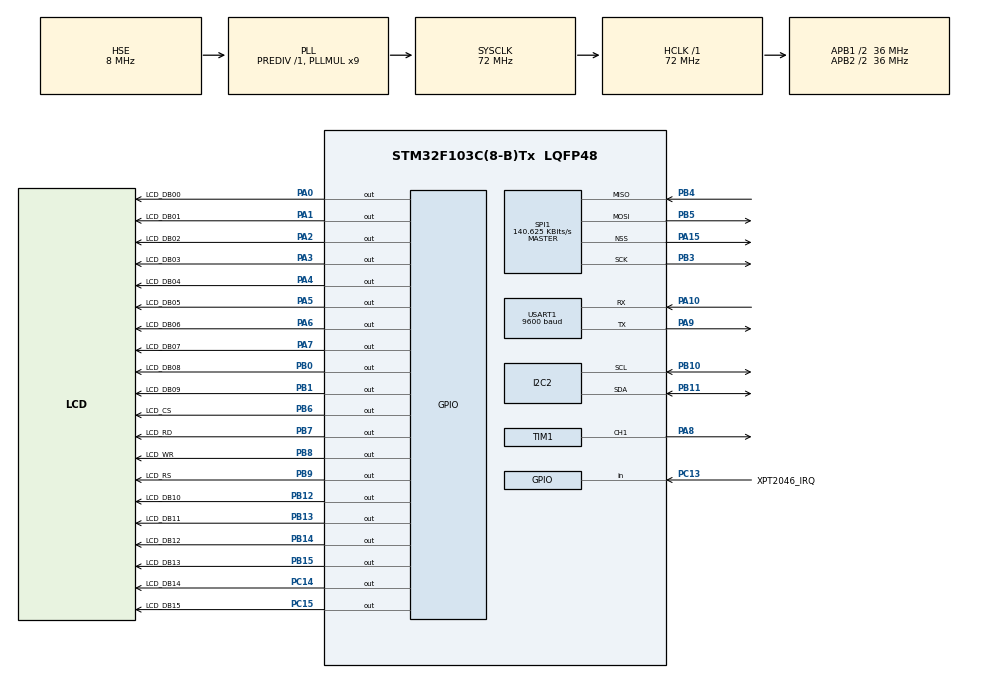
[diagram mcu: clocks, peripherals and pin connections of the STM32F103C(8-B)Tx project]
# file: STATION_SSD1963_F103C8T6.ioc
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Dma.Request0=USART1_TX
Dma.Request1=USART1_RX
Dma.USART1_RX.1.Direction=DMA_PERIPH_TO_MEMORY
Dma.USART1_RX.1.Instance=DMA1_Channel5
Dma.USART1_RX.1.MemDataAlignment=DMA_MDATAALIGN_BYTE
Dma.USART1_RX.1.MemInc=DMA_MINC_ENABLE
Dma.USART1_RX.1.Mode=DMA_NORMAL
Dma.USART1_RX.1.PeriphDataAlignment=DMA_PDATAALIGN_BYTE
Dma.USART1_RX.1.PeriphInc=DMA_PINC_DISABLE
Dma.USART1_RX.1.Priority=DMA_PRIORITY_LOW
Dma.USART1_TX.0.Direction=DMA_MEMORY_TO_PERIPH
Dma.USART1_TX.0.Instance=DMA1_Channel4
Dma.USART1_TX.0.MemDataAlignment=DMA_MDATAALIGN_BYTE
Dma.USART1_TX.0.MemInc=DMA_MINC_ENABLE
Dma.USART1_TX.0.Mode=DMA_NORMAL
Dma.USART1_TX.0.PeriphDataAlignment=DMA_PDATAALIGN_BYTE
Dma.USART1_TX.0.PeriphInc=DMA_PINC_DISABLE
Dma.USART1_TX.0.Priority=DMA_PRIORITY_LOW
Mcu.Family=STM32F1
Mcu.Name=STM32F103C(8-B)Tx
Mcu.Package=LQFP48
NVIC.DMA1_Channel4_IRQn=true\:0\:0\:false\:false\:true\:false\:true
NVIC.DMA1_Channel5_IRQn=true\:0\:0\:false\:false\:true\:false\:true
NVIC.PriorityGroup=NVIC_PRIORITYGROUP_4
NVIC.USART1_IRQn=true\:0\:0\:false\:false\:true\:true\:true
PA0-WKUP.GPIO_Label=LCD_DB00
PA0-WKUP.Signal=GPIO_Output
PA1.GPIO_Label=LCD_DB01
PA1.Signal=GPIO_Output
PA10.Mode=Asynchronous
PA10.Signal=USART1_RX
PA13.Mode=Serial_Wire
PA13.Signal=SYS_JTMS-SWDIO
PA14.Mode=Serial_Wire
PA14.Signal=SYS_JTCK-SWCLK
PA15.Mode=NSS_Signal_Hard_Output
PA15.Signal=SPI1_NSS
PA2.GPIO_Label=LCD_DB02
PA2.Signal=GPIO_Output
PA3.GPIO_Label=LCD_DB03
PA3.Signal=GPIO_Output
PA4.GPIO_Label=LCD_DB04
PA4.Signal=GPIO_Output
PA5.GPIO_Label=LCD_DB05
PA5.Signal=GPIO_Output
PA6.GPIO_Label=LCD_DB06
PA6.Signal=GPIO_Output
PA7.GPIO_Label=LCD_DB07
PA7.Signal=GPIO_Output
PA8.GPIO_Speed=GPIO_SPEED_FREQ_LOW
PA8.Signal=S_TIM1_CH1
PA9.Mode=Asynchronous
PA9.Signal=USART1_TX
PB0.GPIO_Label=LCD_DB08
PB0.Signal=GPIO_Output
PB1.GPIO_Label=LCD_DB09
PB1.Signal=GPIO_Output
PB10.GPIO_Speed=GPIO_SPEED_FREQ_HIGH
PB10.Mode=I2C
PB10.Signal=I2C2_SCL
PB11.GPIO_Speed=GPIO_SPEED_FREQ_HIGH
PB11.Mode=I2C
PB11.Signal=I2C2_SDA
PB12.GPIO_Label=LCD_DB10
PB12.Signal=GPIO_Output
PB13.GPIO_Label=LCD_DB11
PB13.Signal=GPIO_Output
PB14.GPIO_Label=LCD_DB12
PB14.Signal=GPIO_Output
PB15.GPIO_Label=LCD_DB13
PB15.Signal=GPIO_Output
PB3.Mode=Full_Duplex_Master
PB3.Signal=SPI1_SCK
PB4.Mode=Full_Duplex_Master
PB4.Signal=SPI1_MISO
PB5.Mode=Full_Duplex_Master
PB5.Signal=SPI1_MOSI
PB6.GPIO_Label=LCD_CS
PB6.Signal=GPIO_Output
PB7.GPIO_Label=LCD_RD
PB7.Signal=GPIO_Output
PB8.GPIO_Label=LCD_WR
PB8.Signal=GPIO_Output
PB9.GPIO_Label=LCD_RS
PB9.Signal=GPIO_Output
PC13-TAMPER-RTC.GPIO_Label=XPT2046_IRQ
PC13-TAMPER-RTC.GPIO_PuPd=GPIO_PULLUP
PC13-TAMPER-RTC.Signal=GPIO_Input
PC14-OSC32_IN.GPIO_Label=LCD_DB14
PC14-OSC32_IN.Signal=GPIO_Output
PC15-OSC32_OUT.GPIO_Label=LCD_DB15
PC15-OSC32_OUT.Signal=GPIO_Output
PD0-OSC_IN.Mode=HSE-External-Oscillator
PD0-OSC_IN.Signal=RCC_OSC_IN
PD1-OSC_OUT.Mode=HSE-External-Oscillator
PD1-OSC_OUT.Signal=RCC_OSC_OUT
ProjectManager.HeapSize=0x200
ProjectManager.StackSize=0x400
ProjectManager.TargetToolchain=MDK-ARM V5
RCC.AHBFreq_Value=72000000
RCC.APB1CLKDivider=RCC_HCLK_DIV2
RCC.APB1Freq_Value=36000000
RCC.APB1TimFreq_Value=72000000
RCC.APB2CLKDivider=RCC_HCLK_DIV2
RCC.APB2Freq_Value=36000000
RCC.APB2TimFreq_Value=72000000
RCC.HCLKFreq_Value=72000000
RCC.PLLMUL=RCC_PLL_MUL9
RCC.PLLSourceVirtual=RCC_PLLSOURCE_HSE
RCC.SYSCLKFreq_VALUE=72000000
RCC.SYSCLKSource=RCC_SYSCLKSOURCE_PLLCLK
RCC.USBFreq_Value=48000000
RCC.USBPrescaler=RCC_USBCLKSOURCE_PLL_DIV1_5
SH.S_TIM1_CH1.0=TIM1_CH1,PWM Generation1 CH1
SPI1.BaudRatePrescaler=SPI_BAUDRATEPRESCALER_256
SPI1.CalculateBaudRate=140.625 KBits/s
SPI1.Direction=SPI_DIRECTION_2LINES
SPI1.Mode=SPI_MODE_MASTER
SPI1.VirtualNSS=VM_NSSHARD
SPI1.VirtualType=VM_MASTER
TIM1.Channel-PWM\ Generation1\ CH1=TIM_CHANNEL_1
TIM1.Period=65535
TIM1.Prescaler=0
TIM1.Pulse-PWM\ Generation1\ CH1=0
USART1.BaudRate=9600
USART1.VirtualMode=VM_ASYNC
VP_TIM1_VS_ClockSourceINT.Mode=Internal
board=custom

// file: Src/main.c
/* USER CODE BEGIN Header */
/**
  ******************************************************************************
  * @file           : main.c
  * @brief          : Main program body
  ******************************************************************************
  ** This notice applies to any and all portions of this file
  * that are not between comment pairs USER CODE BEGIN and
  * USER CODE END. Other portions of this file, whether
  * inserted by the user or by software development tools
  * are owned by their respective copyright owners.
  *
  * COPYRIGHT(c) 2019 STMicroelectronics
  *
  * Redistribution and use in source and binary forms, with or without modification,
  * are permitted provided that the following conditions are met:
  *   1. Redistributions of source code must retain the above copyright notice,
  *      this list of conditions and the following disclaimer.
  *   2. Redistributions in binary form must reproduce the above copyright notice,
  *      this list of conditions and the following disclaimer in the documentation
  *      and/or other materials provided with the distribution.
  *   3. Neither the name of STMicroelectronics nor the names of its contributors
  *      may be used to endorse or promote products derived from this software
  *      without specific prior written permission.
  *
  * THIS SOFTWARE IS PROVIDED BY THE COPYRIGHT HOLDERS AND CONTRIBUTORS "AS IS"
  * AND ANY EXPRESS OR IMPLIED WARRANTIES, INCLUDING, BUT NOT LIMITED TO, THE
  * IMPLIED WARRANTIES OF MERCHANTABILITY AND FITNESS FOR A PARTICULAR PURPOSE ARE
  * DISCLAIMED. IN NO EVENT SHALL THE COPYRIGHT HOLDER OR CONTRIBUTORS BE LIABLE
  * FOR ANY DIRECT, INDIRECT, INCIDENTAL, SPECIAL, EXEMPLARY, OR CONSEQUENTIAL
  * DAMAGES (INCLUDING, BUT NOT LIMITED TO, PROCUREMENT OF SUBSTITUTE GOODS OR
  * SERVICES; LOSS OF USE, DATA, OR PROFITS; OR BUSINESS INTERRUPTION) HOWEVER
  * CAUSED AND ON ANY THEORY OF LIABILITY, WHETHER IN CONTRACT, STRICT LIABILITY,
  * OR TORT (INCLUDING NEGLIGENCE OR OTHERWISE) ARISING IN ANY WAY OUT OF THE USE
  * OF THIS SOFTWARE, EVEN IF ADVISED OF THE POSSIBILITY OF SUCH DAMAGE.
  *
  ******************************************************************************
  */
  /* USER CODE END Header */
  /* Includes ------------------------------------------------------------------*/
#include "main.h"

/* USER CODE BEGIN Includes */
#include <stdio.h>
#include <math.h>
#include "ssd1963_hal.h"
#include "xpt2046.h"
#include "uart.h"

#include "string.h"
#include "bme280.h"
#include "ds3231.h"
#include "at24xx.h"

#include "fonts/DejaVuSans/018_DejaVuSans.h"
#include "fonts/DejaVuSans/036_DejaVuSans.h"
#include "fonts/DejaVuSans/072_DejaVuSans.h"

#include "fonts/Moon_Phases/026_Moon_Phases.h"

/* USER CODE END Includes */

I2C_HandleTypeDef hi2c2;

SPI_HandleTypeDef hspi1;

TIM_HandleTypeDef htim1;

UART_HandleTypeDef huart1;
DMA_HandleTypeDef hdma_usart1_tx;
DMA_HandleTypeDef hdma_usart1_rx;

/* USER CODE BEGIN PV */
uint8_t rtcSet = 0, clearEEPROM = 0, barographViewed = 0, sound = 1, printAlarm = 0, alarm1 = 0;
uint8_t rtcSec, rtcMin, rtcHrs, rtcDay, rtcDate, rtcMonth, rtcYear,
rtcSecA1, rtcMinA1, rtcHrsA1, rtcDayA1, rtcDateA1, rtcMinA2, rtcHrsA2, rtcDayA2, rtcDateA2;
uint16_t touchX, touchY;
uint8_t rtcSecLast = 61, rtcMinLast = 61, rtcHrsLast = 25, rtcLastDay, rtcDateLast, rtcMonthLast, rtcYearLast;
char rtcDateLastChar[5];
uint16_t pressure, pressureLast;
double temperatureLast, humidityLast, temperature, humidity,
temperatureRemote, temperatureRemoteLast, humidityRemote, humidityRemoteLast, rtcMoon;
uint64_t startHistory;

uint16_t barographHourly[367] = { 25 };
uint16_t barographDaily[367];
uint16_t barographMinimum = 0, barographMaximum = 0, barographAverage = 0;
/* USER CODE END PV */

void SystemClock_Config(void);
static void MX_GPIO_Init(void);
static void MX_DMA_Init(void);
static void MX_USART1_UART_Init(void);
static void MX_SPI1_Init(void);
static void MX_I2C2_Init(void);
static void MX_TIM1_Init(void);

/* USER CODE BEGIN 0 */
double map(double x, double in_min, double in_max, double out_min, double out_max) {
	return (x - in_min) * (out_max - out_min) / (in_max - in_min) + out_min;
}

uint8_t rx_buffer[256];
uint8_t rx_index = 0;
uint8_t rx_data;

void HAL_UART_RxCpltCallback(UART_HandleTypeDef* huart) {
	uint8_t i;
	if (huart->Instance == USART1) {
		if (rx_index == 0) {
			for (i = 0; i < 255; i++) {
				rx_buffer[i] = 0;
			}
		}
		rx_buffer[rx_index++] = rx_data;
		HAL_UART_Receive_IT(&huart1, &rx_data, 1);
	}
}

void sensorRemote() {

	if (temperatureRemote != temperatureRemoteLast && temperatureRemote >= -40 && temperatureRemote <= 40) {

		char weatherPrintRemoteT[4];

		if (temperatureRemoteLast >= 10 || (temperatureRemoteLast < 0 && temperatureRemoteLast > -10)) {
			sprintf(weatherPrintRemoteT, "%.1f", temperatureRemoteLast);
			LCD_Font(505, 40, weatherPrintRemoteT, &DejaVu_Sans_36, 1, BLACK);
		}
		else if (temperatureRemoteLast < 10 && temperatureRemoteLast > 0) {
			sprintf(weatherPrintRemoteT, "%.1f", temperatureRemoteLast);
			LCD_Font(531, 40, weatherPrintRemoteT, &DejaVu_Sans_36, 1, BLACK);
		}
		else if (temperatureRemoteLast <= -10) {
			sprintf(weatherPrintRemoteT, "%2d", (int8_t)temperatureRemoteLast);
			LCD_Font(505, 40, weatherPrintRemoteT, &DejaVu_Sans_36, 1, BLACK);
		}

		temperatureRemoteLast = temperatureRemote;

		if (temperatureRemoteLast >= 10 || (temperatureRemoteLast < 0 && temperatureRemoteLast > -10)) {
			sprintf(weatherPrintRemoteT, "%.1f", temperatureRemoteLast);
			LCD_Font(505, 40, weatherPrintRemoteT, &DejaVu_Sans_36, 1, ORANGE);
		}
		else if (temperatureRemoteLast < 10 && temperatureRemoteLast > 0) {
			sprintf(weatherPrintRemoteT, "%.1f", temperatureRemoteLast);
			LCD_Font(531, 40, weatherPrintRemoteT, &DejaVu_Sans_36, 1, ORANGE);
		}
		else if (temperatureRemoteLast <= -10) {
			sprintf(weatherPrintRemoteT, "%2d", (int8_t)temperatureRemoteLast);
			LCD_Font(505, 40, weatherPrintRemoteT, &DejaVu_Sans_36, 1, ORANGE);
		}

		for (double i = 0.0; i < 400; i++) {
			if (temperatureRemoteLast + 40 > i / 5) LCD_Line(547, 470 - i, 563, 470 - i, 1, GRAY);
			else LCD_Line(547, 470 - i, 563, 470 - i, 1, 0x101010);
		}
	}

	if (humidityRemote != humidityRemoteLast && humidityRemote > 0) {

		char weatherPrintRemoteH[4];

		if (humidityRemoteLast >= 10) {
			sprintf(weatherPrintRemoteH, "%.1f", humidityRemoteLast);
			LCD_Font(405, 40, weatherPrintRemoteH, &DejaVu_Sans_36, 1, BLACK);
		}
		else if (humidityRemoteLast < 10) {
			sprintf(weatherPrintRemoteH, "%.1f", humidityRemoteLast);
			LCD_Font(431, 40, weatherPrintRemoteH, &DejaVu_Sans_36, 1, BLACK);
		}

		humidityRemoteLast = humidityRemote;

		if (humidityRemoteLast >= 10) {
			sprintf(weatherPrintRemoteH, "%.1f", humidityRemoteLast);
			LCD_Font(405, 40, weatherPrintRemoteH, &DejaVu_Sans_36, 1, CYAN);
		}
		else if (humidityRemoteLast < 10) {
			sprintf(weatherPrintRemoteH, "%.1f", humidityRemoteLast);
			LCD_Font(431, 40, weatherPrintRemoteH, &DejaVu_Sans_36, 1, CYAN);
		}

		for (double i = 0.0; i < 400; i++) {
			if (humidityRemote > i / 4) LCD_Line(447, 470 - i, 463, 470 - i, 1, GRAY);
			else LCD_Line(447, 470 - i, 463, 470 - i, 1, 0x101010);
		}
	}
}

void uartDecode() {

	if (memcmp(rx_buffer, "RS", 2) == 0) {

		char valT[4] = { 0 };

		for (uint8_t i = 0; i < 4; i++) valT[i] = rx_buffer[2 + i];

		temperatureRemote = atoi(valT);
		temperatureRemote = temperatureRemote / 10;

		char valH[3] = { 0 };

		for (uint8_t i = 0; i < 3; i++) valH[i] = rx_buffer[6 + i];

		humidityRemote = atoi(valH);
		humidityRemote = humidityRemote / 10;

		sensorRemote();
	}

	if (memcmp(rx_buffer, "RT", 2) == 0) {

		char val[2];

		val[0] = rx_buffer[2];
		val[1] = rx_buffer[3];
		DS3231_setHrs(atoi(val));

		val[0] = rx_buffer[4];
		val[1] = rx_buffer[5];
		DS3231_setMin(atoi(val));

		val[0] = rx_buffer[6];
		val[1] = rx_buffer[7];
		DS3231_setSec(atoi(val));

		val[0] = rx_buffer[8];
		val[1] = rx_buffer[9];
		DS3231_setDate(atoi(val));

		val[0] = rx_buffer[10];
		val[1] = rx_buffer[11];
		DS3231_setMonth(atoi(val));

		val[0] = rx_buffer[12];
		val[1] = rx_buffer[13];
		DS3231_setYear(atoi(val));

		val[0] = 0;
		val[1] = rx_buffer[14];
		DS3231_setDay(atoi(val));
	}

	for (uint8_t i = 0; i < 255; i++) rx_buffer[i] = 0;
}

uint8_t byteL(uint16_t val) {
	return (val & 0xFF);
}

uint8_t byteH(uint16_t val) {
	return ((val >> 8) & 0xFF);
}

uint16_t byteS(uint8_t byteL, uint8_t byteH) {
	return (byteH << 8) | byteL;
}

void barograph(void) {

	for (uint16_t i = 0; i < 367; i++) {
		barographHourly[i] = byteS(AT24XX_Read(i * 2 + 1000), AT24XX_Read(i * 2 + 1 + 1000));
		barographDaily[i] = byteS(AT24XX_Read(i * 2 + 2000), AT24XX_Read(i * 2 + 1 + 2000));
	}

	if (barographHourly[0] != rtcHrs && pressure > 300 && pressure < 1100) {

		barographHourly[0] = rtcHrs;

		for (uint16_t i = 1; i < 366; i++) barographHourly[i] = barographHourly[i + 1];
		barographHourly[366] = (uint16_t)pressure;

		for (uint16_t i = 0; i < 367; i++) {
			AT24XX_Update(i * 2 + 1000, byteL(barographHourly[i]));
			AT24XX_Update(i * 2 + 1 + 1000, byteH(barographHourly[i]));
		}

		if (barographDaily[0] != rtcDate) {
			barographDaily[0] = rtcDate;

			uint32_t barographAverageLast24Hours = 0;
			uint16_t historyHours = 0;
			for (uint8_t i = 0; i < 24; i++) {
				if (barographHourly[366 - i] != 0) {
					barographAverageLast24Hours = barographAverageLast24Hours + barographHourly[366 - i];
					historyHours++;
				}
			}
			if (historyHours != 0) barographAverageLast24Hours = barographAverageLast24Hours / historyHours;

			for (uint16_t i = 1; i < 366; i++) {
				barographDaily[i] = barographDaily[i + 1];
			}
			barographDaily[366] = barographAverageLast24Hours;

			for (uint16_t i = 0; i < 367; i++) {
				AT24XX_Update(i * 2 + 2000, byteL(barographDaily[i]));
				AT24XX_Update(i * 2 + 1 + 2000, byteH(barographDaily[i]));
			}
		}
		barographViewed = 0;
	}

	if (!barographViewed) {

		uint32_t barographAverageLast366Days = 0;
		uint16_t historyDays = 0;
		for (uint16_t i = 0; i < 365; i++) {
			if (barographDaily[366 - i] != 0) {
				barographAverageLast366Days = barographAverageLast366Days + barographDaily[366 - i];
				historyDays++;
			}
		}
		if (historyDays != 0) barographAverage = barographAverageLast366Days / historyDays;

		barographMinimum = barographDaily[366];
		barographMaximum = barographDaily[366];

		for (uint16_t i = 1; i < 366; i++) {
			if (barographDaily[366 - i] != 0) {
				if (barographDaily[366 - i] < barographMinimum) barographMinimum = barographDaily[366 - i];
				if (barographDaily[366 - i] > barographMaximum) barographMaximum = barographDaily[366 - i];
			}
		}
		barographDaily[0] = rtcDate;

		LCD_Rect(1, 329, 368, 128, 1, BLUE);

		for (uint16_t i = 0; i < 366; i++) {

			int16_t val = 0;

			val = barographHourly[i + 1];

			if (val >= 938 && val <= 1064)
			{
				LCD_Line(2 + i, 456, 2 + i, 330, 1, BLACK);
				LCD_Line(2 + i, 456, 2 + i, 330 + (1064 - val), 1, RGB(255 - ((1064 - val) * 2), 0, 255 - (255 - ((1064 - val) * 2))));
			}
		}

		LCD_Rect(1, 201, 368, 128, 1, BLUE);

		for (uint16_t i = 0; i < 366; i++) {

			int16_t val = 0;

			val = barographDaily[i + 1];

			if (val >= 938 && val <= 1064)
			{
				LCD_Line(2 + i, 328, 2 + i, 202, 1, BLACK);
				LCD_Line(2 + i, 328, 2 + i, 202 + (1064 - val), 1, RGB(255 - ((1064 - val) * 2), 0, 255 - (255 - ((1064 - val) * 2))));
			}
		}

		LCD_Rect_Fill(1, 460, 397, 18, BLACK);

		char s[10];

		if (barographAverage >= 1000) sprintf(s, "Mid:%02d|", barographAverage);
		else sprintf(s, "Mid:0%02d|", barographAverage);
		LCD_Font(1, 474, s, &DejaVu_Sans_18, 1, GRAY);

		if (barographMinimum >= 1000) sprintf(s, "|Min:%02d|", barographMinimum);
		else sprintf(s, "|Min:0%02d|", barographMinimum);
		LCD_Font(91, 474, s, &DejaVu_Sans_18, 1, GRAY);

		if (barographMaximum >= 1000) sprintf(s, "|Max:%02d|", barographMaximum);
		else sprintf(s, "|Max:0%02d|", barographMaximum);
		LCD_Font(188, 474, s, &DejaVu_Sans_18, 1, GRAY);

		if (barographHourly[366] >= 1000) sprintf(s, "|Now:%02d", barographHourly[366]);
		else sprintf(s, "|Now:0%02d", barographHourly[366]);
		LCD_Font(290, 474, s, &DejaVu_Sans_18, 1, GRAY);

		LCD_Rect_Fill(370, 330, 29, 127, BLACK);

		if (barographHourly[365] != barographHourly[366])
		{
			if (barographHourly[365] == barographHourly[366] + 1 || barographHourly[365] >= barographHourly[366] + 3)
				LCD_Triangle_Fill(370, 390, 398, 390, 384, 404, BLUE);

			if (barographHourly[365] >= barographHourly[366] + 2)
			{
				LCD_Triangle_Fill(370, 350, 398, 350, 384, 364, BLUE);
				LCD_Triangle_Fill(370, 430, 398, 430, 384, 444, BLUE);
			}

			if (barographHourly[365] == barographHourly[366] - 1 || barographHourly[365] <= barographHourly[366] - 3)
				LCD_Triangle_Fill(370, 404, 398, 404, 384, 390, RED);

			if (barographHourly[365] <= barographHourly[366] - 2)
			{
				LCD_Triangle_Fill(370, 364, 398, 364, 384, 350, RED);
				LCD_Triangle_Fill(370, 444, 398, 444, 384, 430, RED);
			}
		}
		barographViewed = 1;
	}
}

void signal(void)
{
	for (uint32_t i = 0; i <= 65536; i++)
	{
		TIM1->CCR1 = i;
	}
}

void alarm(void)
{
	alarm1 = AT24XX_Read(4000);
	if (rtcHrsA1 < 24 && rtcMinA1 < 60)
	{
		if (!printAlarm)
		{
			LCD_Rect_Fill(71, 170, 105, 28, BLACK);
			char alarm1Time[8];
			sprintf(alarm1Time, "%02d:%02d", rtcHrsA1, rtcMinA1);
			if (alarm1) LCD_Font(70, 197, alarm1Time, &DejaVu_Sans_36, 1, RED);
			else LCD_Font(70, 197, alarm1Time, &DejaVu_Sans_36, 1, GRAY);

			LCD_Rect_Round(2, 170, 30, 30, 2, 1, GRAY);
			LCD_Font(8, 179, "_", &DejaVu_Sans_36, 1, GRAY);
			LCD_Rect_Round(34, 170, 30, 30, 2, 1, GRAY);
			LCD_Font(34, 197, "+", &DejaVu_Sans_36, 1, GRAY);

			LCD_Rect_Round(182, 170, 30, 30, 2, 1, GRAY);
			LCD_Font(188, 179, "_", &DejaVu_Sans_36, 1, GRAY);
			LCD_Rect_Round(214, 170, 30, 30, 2, 1, GRAY);
			LCD_Font(214, 197, "+", &DejaVu_Sans_36, 1, GRAY);

			LCD_Rect_Round(260, 170, 130, 30, 2, 1, GRAY);
			LCD_Rect_Round(300, 175, 50, 20, 2, 1, GRAY);
			LCD_Font(262, 192, "OFF", &DejaVu_Sans_18, 1, GRAY);
			LCD_Font(356, 192, "ON", &DejaVu_Sans_18, 1, GRAY);

			if (alarm1)
			{
				LCD_Rect_Round_Fill(329, 176, 20, 18, 1, RED);
				LCD_Rect_Round_Fill(301, 176, 20, 18, 1, BLACK);
			}
			else
			{
				LCD_Rect_Round_Fill(301, 176, 20, 18, 1, GRAY);
				LCD_Rect_Round_Fill(329, 176, 20, 18, 1, BLACK);
			}

			printAlarm = 1;
		}
		if (alarm1 && rtcHrsA1 == rtcHrs && rtcMinA1 == rtcMin) signal();
	}
}

/* USER CODE END 0 */

int main(void)
{

	/* MCU Configuration--------------------------------------------------------*/

	/* Reset of all peripherals, Initializes the Flash interface and the Systick. */
	HAL_Init();

	/* Configure the system clock */
	SystemClock_Config();

	/* Initialize all configured peripherals */
	MX_GPIO_Init();
	MX_DMA_Init();
	MX_USART1_UART_Init();
	MX_SPI1_Init();
	MX_I2C2_Init();
	MX_TIM1_Init();
	/* USER CODE BEGIN 2 */

	LCD_Init();
	XPT2046_Init();
	BME280_Init();

//	DS3231_setAlarm1Hour(0);
//	DS3231_setAlarm1Min(0);

	//HAL_GPIO_WritePin(GPIOA, GPIO_PIN_8, GPIO_PIN_SET);
	//HAL_Delay(100);
	//HAL_GPIO_WritePin(GPIOA, GPIO_PIN_8, GPIO_PIN_RESET);

	HAL_TIM_PWM_Start(&htim1, TIM_CHANNEL_1);

	if (rtcSet) {
		DS3231_setSec(0);
		DS3231_setMin(10);
		DS3231_setHrs(7);
		DS3231_setDay(5);
		DS3231_setDate(15);
		DS3231_setMonth(1);
		DS3231_setYear(21);
		rtcSet = 1;
	}

	if (clearEEPROM) {
		for (uint16_t i = 0; i < 4096; i++) {
			AT24XX_Update(i, 0);
		}
	}

	LCD_Rect_Fill(0, 0, 800, 480, BLACK);
	LCD_Rect(0, 0, 798, 479, 1, BLUE);

	HAL_UART_Receive_IT(&huart1, &rx_data, 1);

	uint8_t uartTransmit[] = "UART OK\r\n";
	HAL_UART_Transmit(&huart1, uartTransmit, sizeof(uartTransmit), 100);

	uint8_t uartTransmitDMA[] = "UART DMA OK\r\n";
	HAL_UART_Transmit_DMA(&huart1, uartTransmitDMA, sizeof(uartTransmitDMA));

	LCD_Line(400, 2, 400, 478, 1, BLUE);
	LCD_Rect(445, 70, 20, 402, 1, CYAN);
	LCD_Rect(745, 70, 20, 402, 1, CYAN);

	for (uint32_t i = 0; i < 41; i++) {
		char numbers[3];
		sprintf(numbers, "%02d", 40 - i);
		if (i % 5 == 0) LCD_Font(710, 77 + i * 10, numbers, &DejaVu_Sans_18, 1, GREEN);
		if (i % 5 == 0 && i > 30) LCD_Font(710, 77 + i * 10, "0", &DejaVu_Sans_18, 1, BLACK);

		if (i % 5 == 0) LCD_Line(735, 71 + i * 10, 745, 71 + i * 10, 1, CYAN);
		else LCD_Line(740, 71 + i * 10, 745, 71 + i * 10, 1, CYAN);
	}

	LCD_Rect(645, 70, 20, 402, 1, CYAN);

	for (uint8_t i = 0; i < 41; i++) {
		float n = (uint16_t)100.0 - i * 2.5;
		if ((uint8_t)n % 10 == 0) {
			char numbers[3];
			sprintf(numbers, "%02d", (uint8_t)n);
			if (n < 100) LCD_Font(610, 77 + i * 10, numbers, &DejaVu_Sans_18, 1, GREEN);
			else LCD_Font(601, 77 + i * 10, numbers, &DejaVu_Sans_18, 1, GREEN);

			LCD_Line(635, 71 + i * 10, 645, 71 + i * 10, 1, CYAN);

		}
		else if ((uint8_t)n % 5 == 0 && i < 40)
			LCD_Line(640, 71 + i * 10, 645, 71 + i * 10, 1, CYAN);
	}

	LCD_Font(610, 477, "0", &DejaVu_Sans_18, 1, BLACK);

	for (uint8_t i = 0; i < 41; i++) {
		float n = (uint16_t)100.0 - i * 2.5;
		if ((uint8_t)n % 10 == 0) {
			char numbers[3];
			sprintf(numbers, "%02d", (uint8_t)n);
			if (n < 100) LCD_Font(410, 77 + i * 10, numbers, &DejaVu_Sans_18, 1, GREEN);
			else LCD_Font(401, 77 + i * 10, numbers, &DejaVu_Sans_18, 1, GREEN);
			LCD_Line(435, 71 + i * 10, 445, 71 + i * 10, 1, CYAN);
		}
		else if ((uint8_t)n % 5 == 0 && i < 40)
			LCD_Line(440, 71 + i * 10, 445, 71 + i * 10, 1, CYAN);
	}

	LCD_Font(410, 477, "0", &DejaVu_Sans_18, 1, BLACK);

	LCD_Rect(545, 70, 20, 402, 1, CYAN);

	for (int32_t i = 0; i < 81; i++) {
		char numbers[3];
		sprintf(numbers, "%02d", 40 - i);
		if (i % 10 == 0) {
			if (40 - i >= 0) LCD_Font(510, 77 + i * 5, numbers, &DejaVu_Sans_18, 1, GREEN);
			else if (40 - i < 0) LCD_Font(501, 77 + i * 5, numbers, &DejaVu_Sans_18, 1, GREEN);
			LCD_Line(535, 71 + i * 5, 545, 71 + i * 5, 1, CYAN);
		}
		else if (i % 5 == 0) LCD_Line(540, 71 + i * 5, 545, 71 + i * 5, 1, CYAN);
		LCD_Font(510, 277, "0", &DejaVu_Sans_18, 1, BLACK);
	}

	LCD_Line(500, 2, 500, 478, 1, BLUE);
	LCD_Line(600, 2, 600, 478, 1, BLUE);
	LCD_Line(700, 2, 700, 478, 1, BLUE);

	/* USER CODE END 2 */
//	LCD_Font(50, 200, "ABCDEFGH", &Moon_Phases_26, 1, WHITE);
	/* Infinite loop */
	/* USER CODE BEGIN WHILE */
	while (1) {

		if (sound)
		{
			signal();
			sound = 0;
		}

		if (rx_index != 0) {
			HAL_Delay(200);
			rx_index = 0;
			uartDecode();
			sound = 1;
		}

		if ((HAL_GPIO_ReadPin(GPIOC, GPIO_PIN_13) == GPIO_PIN_SET)) {
			uint16_t touchXr = getX();
			uint16_t touchYr = getY();

			if (touchXr && touchYr && touchXr != 0x2F5 && touchYr != 0x0DB) {
				touchX = touchXr;
				touchY = touchYr;

				if (touchX > 0 && touchX < 32 && touchY > 170 && touchY < 200)
				{
					LCD_Rect_Round(2, 170, 30, 30, 2, 1, RED);
					LCD_Font(8, 179, "_", &DejaVu_Sans_36, 1, RED);
					if (rtcHrsA1 > 0) rtcHrsA1 = rtcHrsA1 - 1; else rtcHrsA1 = 23;
					DS3231_setAlarm1Hour(rtcHrsA1);
					printAlarm = 0;
					sound = 1;
				} else if (touchX > 32 && touchX < 64 && touchY > 170 && touchY < 200)
				{
					LCD_Rect_Round(34, 170, 30, 30, 2, 1, RED);
					LCD_Font(34, 197, "+", &DejaVu_Sans_36, 1, RED);
					if (rtcHrsA1 < 23) rtcHrsA1 = rtcHrsA1 + 1; else rtcHrsA1 = 0;
					DS3231_setAlarm1Hour(rtcHrsA1);
					printAlarm = 0;
					sound = 1;
				} else if (touchX > 182 && touchX < 212 && touchY > 170 && touchY < 200)
				{
					if (rtcMinA1 > 0) rtcMinA1 = rtcMinA1 - 5; else rtcMinA1 = 55;
					DS3231_setAlarm1Min(rtcMinA1);
					LCD_Rect_Round(182, 170, 30, 30, 2, 1, RED);
					LCD_Font(188, 179, "_", &DejaVu_Sans_36, 1, RED);
					printAlarm = 0;
					sound = 1;
				} else if (touchX > 214 && touchX < 244 && touchY > 170 && touchY < 200)
				{
					if (rtcMinA1 < 55) rtcMinA1 = rtcMinA1 + 5; else rtcMinA1 = 0;
					DS3231_setAlarm1Min(rtcMinA1);
					LCD_Rect_Round(214, 170, 30, 30, 2, 1, RED);
					LCD_Font(214, 197, "+", &DejaVu_Sans_36, 1, RED);
					printAlarm = 0;
					sound = 1;
				} else if (touchX > 260 && touchX < 390 && touchY > 170 && touchY < 200)
				{
					if (AT24XX_Read(4000)) AT24XX_Update(4000, 0);
					else AT24XX_Update(4000, 1);
					printAlarm = 0;
					sound = 1;
				}

			}
		}

		DS3231_Update();
		rtcSec = DS3231_getSec();
		rtcMin = DS3231_getMin();
		rtcHrs = DS3231_getHrs();
		rtcDay = DS3231_getDay();
		rtcDate = DS3231_getDate();
		rtcMonth = DS3231_getMonth();
		rtcYear = DS3231_getYear();
		//		rtcSecA1 = DS3231_getAlarm1Sec();
		rtcMinA1 = DS3231_getAlarm1Min();
		rtcHrsA1 = DS3231_getAlarm1Hour();
		//		rtcDayA1 = DS3231_getAlarm1Day();
		//		rtcDateA1 = DS3231_getAlarm1Date();
		//		rtcMinA2 = DS3231_getAlarm2Min();
		//		rtcHrsA2 = DS3231_getAlarm2Hour();
		//		rtcDayA2 = DS3231_getAlarm2Day();
		//		rtcDateA2 = DS3231_getAlarm2Date();

		char clockPrint[13];

		if (rtcSecLast != rtcSec) {

			uint32_t RGB_CLOCK;

			switch (rtcHrs)
			{
			case  0: RGB_CLOCK = HUE_01; break;
			case  1: RGB_CLOCK = HUE_02; break;
			case  2: RGB_CLOCK = HUE_03; break;
			case  3: RGB_CLOCK = HUE_04; break;
			case  4: RGB_CLOCK = HUE_05; break;
			case  5: RGB_CLOCK = HUE_06; break;
			case  6: RGB_CLOCK = HUE_07; break;
			case  7: RGB_CLOCK = HUE_08; break;
			case  8: RGB_CLOCK = HUE_09; break;
			case  9: RGB_CLOCK = HUE_10; break;
			case 10: RGB_CLOCK = HUE_11; break;
			case 11: RGB_CLOCK = HUE_12; break;
			case 12: RGB_CLOCK = HUE_13; break;
			case 13: RGB_CLOCK = HUE_14; break;
			case 14: RGB_CLOCK = HUE_15; break;
			case 15: RGB_CLOCK = HUE_16; break;
			case 16: RGB_CLOCK = HUE_17; break;
			case 17: RGB_CLOCK = HUE_18; break;
			case 18: RGB_CLOCK = HUE_19; break;
			case 19: RGB_CLOCK = HUE_20; break;
			case 20: RGB_CLOCK = HUE_21; break;
			case 21: RGB_CLOCK = HUE_22; break;
			case 22: RGB_CLOCK = HUE_23; break;
			case 23: RGB_CLOCK = HUE_24; break;
			}

			LCD_Circle(203, 30, 8, 0, 1, RGB_CLOCK);
			LCD_Circle(203, 80, 8, 0, 1, RGB_CLOCK);

			if (rtcSec % 2 != 0) {
				LCD_Circle(203, 30, 7, 1, 1, RGB_CLOCK);
				LCD_Circle(203, 80, 7, 1, 1, RGB_CLOCK);
			}
			else {
				LCD_Circle(203, 30, 7, 1, 1, BLACK);
				LCD_Circle(203, 80, 7, 1, 1, BLACK);
			}

			if (rtcMinLast != rtcMin) {

				sprintf(clockPrint, "%02d", rtcMinLast);
				LCD_Font(220, 110, clockPrint, &DejaVu_Sans_72, 2, BLACK);
				sprintf(clockPrint, "%02d", rtcMin);
				LCD_Font(220, 110, clockPrint, &DejaVu_Sans_72, 2, RGB_CLOCK);

				if (rtcHrsLast != rtcHrs) {
					sprintf(clockPrint, "%02d", rtcHrsLast);
					LCD_Font(0, 110, clockPrint, &DejaVu_Sans_72, 2, BLACK);
					sprintf(clockPrint, "%02d", rtcHrs);
					LCD_Font(0, 110, clockPrint, &DejaVu_Sans_72, 2, RGB_CLOCK);

					if (rtcLastDay != rtcDay) {
						LCD_Font(3, 250, rtcDateLastChar, &DejaVu_Sans_72, 1, BLACK);

						sprintf(clockPrint, "%02d / %02d / %02d", rtcDateLast, rtcMonthLast, rtcYearLast);
						LCD_Font(70, 140, clockPrint, &DejaVu_Sans_36, 1, BLACK);

						sprintf(clockPrint, "%02d / %02d / %02d", rtcDate, rtcMonth, rtcYear);
						LCD_Font(70, 140, clockPrint, &DejaVu_Sans_36, 1, GRAY);

						for (uint8_t i; i < 5; i++) rtcDateLastChar[i] = clockPrint[i];

						switch (rtcDay) {
						case 1:
							LCD_Font(2, 140, "SU' ", &DejaVu_Sans_36, 1, BLACK);
							LCD_Font(2, 140, "MO' ", &DejaVu_Sans_36, 1, GRAY);
							break;

						case 2:
							LCD_Font(2, 140, "MO' ", &DejaVu_Sans_36, 1, BLACK);
							LCD_Font(2, 140, "TU' ", &DejaVu_Sans_36, 1, GRAY);
							break;

						case 3:
							LCD_Font(2, 140, "TU' ", &DejaVu_Sans_36, 1, BLACK);
							LCD_Font(2, 140, "WE' ", &DejaVu_Sans_36, 1, GRAY);
							break;

						case 4:
							LCD_Font(2, 140, "WE' ", &DejaVu_Sans_36, 1, BLACK);
							LCD_Font(2, 140, "TH' ", &DejaVu_Sans_36, 1, GRAY);
							break;

						case 5:
							LCD_Font(2, 140, "TH' ", &DejaVu_Sans_36, 1, BLACK);
							LCD_Font(2, 140, "FR' ", &DejaVu_Sans_36, 1, GRAY);
							break;

						case 6:
							LCD_Font(2, 140, "FR' ", &DejaVu_Sans_36, 1, BLACK);
							LCD_Font(2, 140, "SA' ", &DejaVu_Sans_36, 1, GRAY);
							break;

						case 7:
							LCD_Font(2, 140, "SA' ", &DejaVu_Sans_36, 1, BLACK);
							LCD_Font(2, 140, "SU' ", &DejaVu_Sans_36, 1, GRAY);
							break;
						}
						rtcLastDay = rtcDay;
					}

					rtcDateLast = rtcDate;
					rtcMonthLast = rtcMonth;
					rtcYearLast = rtcYear;

					//	rtcMoon = DS3231_getMoonDay();
					barograph();
					rtcHrsLast = rtcHrs;
					sound = 1;
				}

				temperature = BME280_getTemperature(-1);
				humidity = BME280_getHumidity(-1);
				pressure = (uint16_t)BME280_getPressure();

				if (temperature != temperatureLast && temperature >= -40 && temperature <= 40) {

					char weatherPrintT[4];

					if (temperatureLast >= 10 || (temperatureLast < 0 && temperatureLast > -10)) {
						sprintf(weatherPrintT, "%.1f", temperatureLast);
						LCD_Font(705, 40, weatherPrintT, &DejaVu_Sans_36, 1, BLACK);
					}
					else if (temperatureLast < 10 && temperatureLast > 0) {
						sprintf(weatherPrintT, "%.1f", temperatureLast);
						LCD_Font(731, 40, weatherPrintT, &DejaVu_Sans_36, 1, BLACK);
					}
					else if (temperatureLast <= -10) {
						sprintf(weatherPrintT, "%2d", (int8_t)temperatureLast);
						LCD_Font(705, 40, weatherPrintT, &DejaVu_Sans_36, 1, BLACK);
					}

					if (temperature >= 10 || (temperature < 0 && temperature > -10)) {
						sprintf(weatherPrintT, "%.1f", temperature);
						LCD_Font(705, 40, weatherPrintT, &DejaVu_Sans_36, 1, ORANGE);
					}
					else if (temperature < 10 && temperature > 0) {
						sprintf(weatherPrintT, "%.1f", temperature);
						LCD_Font(731, 40, weatherPrintT, &DejaVu_Sans_36, 1, ORANGE);
					}
					else if (temperature <= -10) {
						sprintf(weatherPrintT, "%2d", (int8_t)temperature);
						LCD_Font(705, 40, weatherPrintT, &DejaVu_Sans_36, 1, ORANGE);
					}

					for (double i = 0.0; i < 400; i++) {
						if (temperature > i / 10) LCD_Line(747, 470 - i, 763, 470 - i, 1, GRAY);
						else LCD_Line(747, 470 - i, 763, 470 - i, 1, 0x101010);
					}

					temperatureLast = temperature;
				}

				char weatherPrintH[4];

				if (humidity != humidityLast && humidity >= 0 && humidity < 100) {

					sprintf(weatherPrintH, "%.1f", humidityLast);
					if (humidityLast >= 10)
						LCD_Font(605, 40, weatherPrintH, &DejaVu_Sans_36, 1, BLACK);
					else LCD_Font(631, 40, weatherPrintH, &DejaVu_Sans_36, 1, BLACK);

					sprintf(weatherPrintH, "%.1f", humidity);
					if (humidity >= 10)
						LCD_Font(605, 40, weatherPrintH, &DejaVu_Sans_36, 1, CYAN);
					else LCD_Font(631, 40, weatherPrintH, &DejaVu_Sans_36, 1, CYAN);

					for (double i = 0.0; i < 400; i++) {
						if (humidity > i / 4) LCD_Line(647, 470 - i, 663, 470 - i, 1, GRAY);
						else LCD_Line(647, 470 - i, 663, 470 - i, 1, 0x101010);
					}

					humidityLast = humidity;
				}
				rtcMinLast = rtcMin;
			}
			alarm();
			rtcSecLast = rtcSec;
		}
	}
	/* USER CODE END WHILE */

}

void SystemClock_Config(void)
{
	RCC_OscInitTypeDef RCC_OscInitStruct = { 0 };
	RCC_ClkInitTypeDef RCC_ClkInitStruct = { 0 };

	/** Initializes the RCC Oscillators according to the specified parameters
	* in the RCC_OscInitTypeDef structure.
	*/
	RCC_OscInitStruct.OscillatorType = RCC_OSCILLATORTYPE_HSE;
	RCC_OscInitStruct.HSEState = RCC_HSE_ON;
	RCC_OscInitStruct.HSEPredivValue = RCC_HSE_PREDIV_DIV1;
	RCC_OscInitStruct.HSIState = RCC_HSI_ON;
	RCC_OscInitStruct.PLL.PLLState = RCC_PLL_ON;
	RCC_OscInitStruct.PLL.PLLSource = RCC_PLLSOURCE_HSE;
	RCC_OscInitStruct.PLL.PLLMUL = RCC_PLL_MUL9;
	if (HAL_RCC_OscConfig(&RCC_OscInitStruct) != HAL_OK)
	{
		Error_Handler();
	}
	/** Initializes the CPU, AHB and APB buses clocks
	*/
	RCC_ClkInitStruct.ClockType = RCC_CLOCKTYPE_HCLK | RCC_CLOCKTYPE_SYSCLK
		| RCC_CLOCKTYPE_PCLK1 | RCC_CLOCKTYPE_PCLK2;
	RCC_ClkInitStruct.SYSCLKSource = RCC_SYSCLKSOURCE_PLLCLK;
	RCC_ClkInitStruct.AHBCLKDivider = RCC_SYSCLK_DIV1;
	RCC_ClkInitStruct.APB1CLKDivider = RCC_HCLK_DIV2;
	RCC_ClkInitStruct.APB2CLKDivider = RCC_HCLK_DIV2;

	if (HAL_RCC_ClockConfig(&RCC_ClkInitStruct, FLASH_LATENCY_2) != HAL_OK)
	{
		Error_Handler();
	}
}

static void MX_I2C2_Init(void)
{

	hi2c2.Instance = I2C2;
	hi2c2.Init.ClockSpeed = 100000;
	hi2c2.Init.DutyCycle = I2C_DUTYCYCLE_2;
	hi2c2.Init.OwnAddress1 = 0;
	hi2c2.Init.AddressingMode = I2C_ADDRESSINGMODE_7BIT;
	hi2c2.Init.DualAddressMode = I2C_DUALADDRESS_DISABLE;
	hi2c2.Init.OwnAddress2 = 0;
	hi2c2.Init.GeneralCallMode = I2C_GENERALCALL_DISABLE;
	hi2c2.Init.NoStretchMode = I2C_NOSTRETCH_DISABLE;
	if (HAL_I2C_Init(&hi2c2) != HAL_OK)
	{
		Error_Handler();
	}

}

static void MX_SPI1_Init(void)
{

	/* SPI1 parameter configuration*/
	hspi1.Instance = SPI1;
	hspi1.Init.Mode = SPI_MODE_MASTER;
	hspi1.Init.Direction = SPI_DIRECTION_2LINES;
	hspi1.Init.DataSize = SPI_DATASIZE_8BIT;
	hspi1.Init.CLKPolarity = SPI_POLARITY_LOW;
	hspi1.Init.CLKPhase = SPI_PHASE_1EDGE;
	hspi1.Init.NSS = SPI_NSS_HARD_OUTPUT;
	hspi1.Init.BaudRatePrescaler = SPI_BAUDRATEPRESCALER_256;
	hspi1.Init.FirstBit = SPI_FIRSTBIT_MSB;
	hspi1.Init.TIMode = SPI_TIMODE_DISABLE;
	hspi1.Init.CRCCalculation = SPI_CRCCALCULATION_DISABLE;
	hspi1.Init.CRCPolynomial = 10;
	if (HAL_SPI_Init(&hspi1) != HAL_OK)
	{
		Error_Handler();
	}

}

static void MX_TIM1_Init(void)
{

	TIM_ClockConfigTypeDef sClockSourceConfig = { 0 };
	TIM_MasterConfigTypeDef sMasterConfig = { 0 };
	TIM_OC_InitTypeDef sConfigOC = { 0 };
	TIM_BreakDeadTimeConfigTypeDef sBreakDeadTimeConfig = { 0 };

	htim1.Instance = TIM1;
	htim1.Init.Prescaler = 0;
	htim1.Init.CounterMode = TIM_COUNTERMODE_UP;
	htim1.Init.Period = 65535;
	htim1.Init.ClockDivision = TIM_CLOCKDIVISION_DIV1;
	htim1.Init.RepetitionCounter = 0;
	htim1.Init.AutoReloadPreload = TIM_AUTORELOAD_PRELOAD_DISABLE;
	if (HAL_TIM_Base_Init(&htim1) != HAL_OK)
	{
		Error_Handler();
	}
	sClockSourceConfig.ClockSource = TIM_CLOCKSOURCE_INTERNAL;
	if (HAL_TIM_ConfigClockSource(&htim1, &sClockSourceConfig) != HAL_OK)
	{
		Error_Handler();
	}
	if (HAL_TIM_PWM_Init(&htim1) != HAL_OK)
	{
		Error_Handler();
	}
	sMasterConfig.MasterOutputTrigger = TIM_TRGO_RESET;
	sMasterConfig.MasterSlaveMode = TIM_MASTERSLAVEMODE_DISABLE;
	if (HAL_TIMEx_MasterConfigSynchronization(&htim1, &sMasterConfig) != HAL_OK)
	{
		Error_Handler();
	}
	sConfigOC.OCMode = TIM_OCMODE_PWM1;
	sConfigOC.Pulse = 0;
	sConfigOC.OCPolarity = TIM_OCPOLARITY_HIGH;
	sConfigOC.OCNPolarity = TIM_OCNPOLARITY_HIGH;
	sConfigOC.OCFastMode = TIM_OCFAST_DISABLE;
	sConfigOC.OCIdleState = TIM_OCIDLESTATE_RESET;
	sConfigOC.OCNIdleState = TIM_OCNIDLESTATE_RESET;
	if (HAL_TIM_PWM_ConfigChannel(&htim1, &sConfigOC, TIM_CHANNEL_1) != HAL_OK)
	{
		Error_Handler();
	}
	sBreakDeadTimeConfig.OffStateRunMode = TIM_OSSR_DISABLE;
	sBreakDeadTimeConfig.OffStateIDLEMode = TIM_OSSI_DISABLE;
	sBreakDeadTimeConfig.LockLevel = TIM_LOCKLEVEL_OFF;
	sBreakDeadTimeConfig.DeadTime = 0;
	sBreakDeadTimeConfig.BreakState = TIM_BREAK_DISABLE;
	sBreakDeadTimeConfig.BreakPolarity = TIM_BREAKPOLARITY_HIGH;
	sBreakDeadTimeConfig.AutomaticOutput = TIM_AUTOMATICOUTPUT_DISABLE;
	if (HAL_TIMEx_ConfigBreakDeadTime(&htim1, &sBreakDeadTimeConfig) != HAL_OK)
	{
		Error_Handler();
	}
	HAL_TIM_MspPostInit(&htim1);

}

static void MX_USART1_UART_Init(void)
{

	huart1.Instance = USART1;
	huart1.Init.BaudRate = 9600;
	huart1.Init.WordLength = UART_WORDLENGTH_8B;
	huart1.Init.StopBits = UART_STOPBITS_1;
	huart1.Init.Parity = UART_PARITY_NONE;
	huart1.Init.Mode = UART_MODE_TX_RX;
	huart1.Init.HwFlowCtl = UART_HWCONTROL_NONE;
	huart1.Init.OverSampling = UART_OVERSAMPLING_16;
	if (HAL_UART_Init(&huart1) != HAL_OK)
	{
		Error_Handler();
	}

}

static void MX_DMA_Init(void)
{

	/* DMA controller clock enable */
	__HAL_RCC_DMA1_CLK_ENABLE();

	/* DMA interrupt init */
	/* DMA1_Channel4_IRQn interrupt configuration */
	HAL_NVIC_SetPriority(DMA1_Channel4_IRQn, 0, 0);
	HAL_NVIC_EnableIRQ(DMA1_Channel4_IRQn);
	/* DMA1_Channel5_IRQn interrupt configuration */
	HAL_NVIC_SetPriority(DMA1_Channel5_IRQn, 0, 0);
	HAL_NVIC_EnableIRQ(DMA1_Channel5_IRQn);

}

static void MX_GPIO_Init(void)
{
	GPIO_InitTypeDef GPIO_InitStruct = { 0 };

	/* GPIO Ports Clock Enable */
	__HAL_RCC_GPIOC_CLK_ENABLE();
	__HAL_RCC_GPIOD_CLK_ENABLE();
	__HAL_RCC_GPIOA_CLK_ENABLE();
	__HAL_RCC_GPIOB_CLK_ENABLE();

	/*Configure GPIO pin Output Level */
	HAL_GPIO_WritePin(GPIOC, LCD_DB14_Pin | LCD_DB15_Pin, GPIO_PIN_RESET);

	/*Configure GPIO pin Output Level */
	HAL_GPIO_WritePin(GPIOA, LCD_DB00_Pin | LCD_DB01_Pin | LCD_DB02_Pin | LCD_DB03_Pin
		| LCD_DB04_Pin | LCD_DB05_Pin | LCD_DB06_Pin | LCD_DB07_Pin, GPIO_PIN_RESET);

	/*Configure GPIO pin Output Level */
	HAL_GPIO_WritePin(GPIOB, LCD_DB08_Pin | LCD_DB09_Pin | LCD_DB10_Pin | LCD_DB11_Pin
		| LCD_DB12_Pin | LCD_DB13_Pin | LCD_CS_Pin | LCD_RD_Pin
		| LCD_WR_Pin | LCD_RS_Pin, GPIO_PIN_RESET);

	/*Configure GPIO pin : XPT2046_IRQ_Pin */
	GPIO_InitStruct.Pin = XPT2046_IRQ_Pin;
	GPIO_InitStruct.Mode = GPIO_MODE_INPUT;
	GPIO_InitStruct.Pull = GPIO_PULLUP;
	HAL_GPIO_Init(XPT2046_IRQ_GPIO_Port, &GPIO_InitStruct);

	/*Configure GPIO pins : LCD_DB14_Pin LCD_DB15_Pin */
	GPIO_InitStruct.Pin = LCD_DB14_Pin | LCD_DB15_Pin;
	GPIO_InitStruct.Mode = GPIO_MODE_OUTPUT_PP;
	GPIO_InitStruct.Pull = GPIO_NOPULL;
	GPIO_InitStruct.Speed = GPIO_SPEED_FREQ_LOW;
	HAL_GPIO_Init(GPIOC, &GPIO_InitStruct);

	/*Configure GPIO pins : LCD_DB00_Pin LCD_DB01_Pin LCD_DB02_Pin LCD_DB03_Pin
							 LCD_DB04_Pin LCD_DB05_Pin LCD_DB06_Pin LCD_DB07_Pin */
	GPIO_InitStruct.Pin = LCD_DB00_Pin | LCD_DB01_Pin | LCD_DB02_Pin | LCD_DB03_Pin
		| LCD_DB04_Pin | LCD_DB05_Pin | LCD_DB06_Pin | LCD_DB07_Pin;
	GPIO_InitStruct.Mode = GPIO_MODE_OUTPUT_PP;
	GPIO_InitStruct.Pull = GPIO_NOPULL;
	GPIO_InitStruct.Speed = GPIO_SPEED_FREQ_LOW;
	HAL_GPIO_Init(GPIOA, &GPIO_InitStruct);

	/*Configure GPIO pins : LCD_DB08_Pin LCD_DB09_Pin LCD_DB10_Pin LCD_DB11_Pin
							 LCD_DB12_Pin LCD_DB13_Pin LCD_CS_Pin LCD_RD_Pin
							 LCD_WR_Pin LCD_RS_Pin */
	GPIO_InitStruct.Pin = LCD_DB08_Pin | LCD_DB09_Pin | LCD_DB10_Pin | LCD_DB11_Pin
		| LCD_DB12_Pin | LCD_DB13_Pin | LCD_CS_Pin | LCD_RD_Pin
		| LCD_WR_Pin | LCD_RS_Pin;
	GPIO_InitStruct.Mode = GPIO_MODE_OUTPUT_PP;
	GPIO_InitStruct.Pull = GPIO_NOPULL;
	GPIO_InitStruct.Speed = GPIO_SPEED_FREQ_LOW;
	HAL_GPIO_Init(GPIOB, &GPIO_InitStruct);

}

void Error_Handler(void)
{
}

/************************ (C) COPYRIGHT STMicroelectronics *****END OF FILE****/
